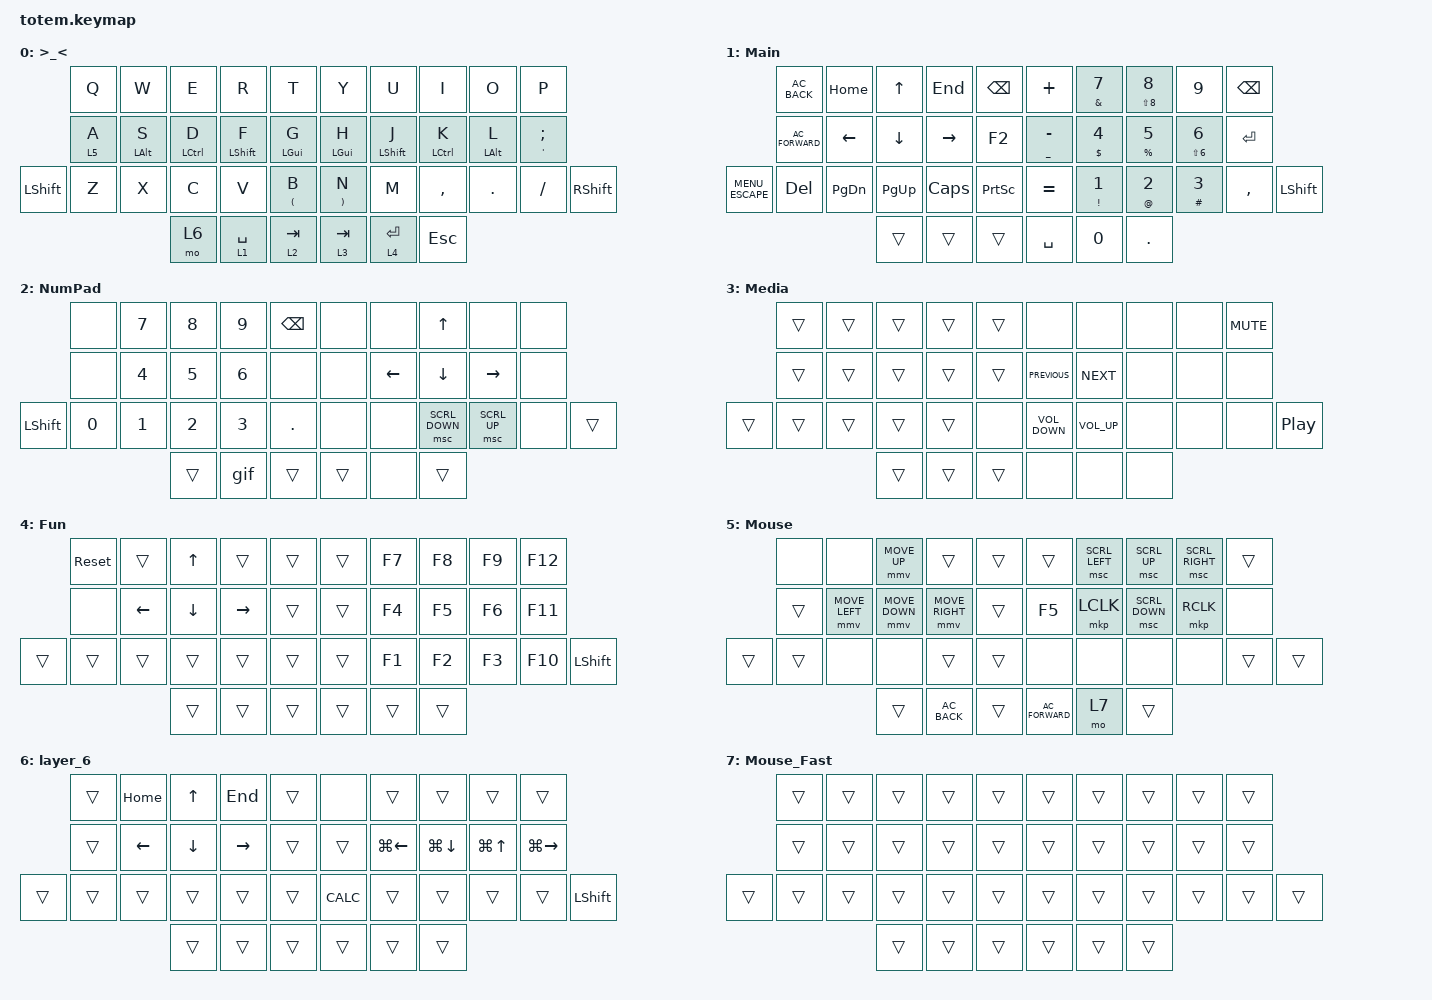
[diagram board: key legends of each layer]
//
//                                                        ▀▀▀▀▀     ▀▀▀▀▀          ▀▀█▀▀
//                                                        ▄▀▀▀▄  ▄  ▄▀▀▀▄  ▄  ▄▀▀▀▄  █  ▄▀▀▀▄
//                                                        █   █  █  █   █  █  █   █  █  █   █
//                                                         ▀▀▀   █   ▀▀▀   █   ▀▀▀   ▀   ▀▀▀
//                                                               █      ▄▄▄█▄▄▄    █   █  
//                                                               ▀      █  █  █     █▄█
//                                                             ▀▀▀▀▀    █  █  █      ▀
//                                                                      ▀  ▀  ▀
//
// ▄▄▄▄▄▄▄▄▄▄▄▄▄▄▄▄▄▄▄▄▄▄▄▄▄▄▄▄▄▄▄▄▄▄▄▄▄▄▄▄▄▄▄▄▄▄▄▄▄▄▄▄▄▄▄▄▄▄▄▄▄▄▄▄▄▄▄▄▄▄▄▄▄▄▄▄▄▄▄▄▄▄▄▄▄▄▄▄▄▄▄▄▄▄▄▄▄▄▄▄▄▄▄▄▄▄▄▄▄▄▄▄▄▄▄▄▄▄▄▄▄▄▄▄▄▄▄▄▄▄▄▄▄▄▄▄▄▄▄▄▄▄▄▄▄▄▄▄▄

#include <behaviors.dtsi>
#include <dt-bindings/zmk/keys.h>
#include <zephyr/dt-bindings/input/input-event-codes.h>

#define ZMK_POINTING_DEFAULT_MOVE_VAL 600  
#define ZMK_POINTING_DEFAULT_SCRL_VAL 20    

#include <dt-bindings/zmk/pointing.h>

&mmv {
    time-to-max-speed-ms = <0>;       
    acceleration-exponent = <0>;        
};

/ {
    custom_zip_xy_scaler: custom_zip_xy_scaler {
        compatible = "zmk,input-processor-scaler";
        #input-processor-cells = <2>;
        type = <INPUT_EV_REL>;
        codes = <INPUT_REL_X>, <INPUT_REL_Y>;
        track-remainders;
    };
};

&mmv_input_listener {
    mouse_fast {
        layers = <7>;   
        input-processors = <&custom_zip_xy_scaler 11 6>; 
        process-next;
    };
};

#define BASE 0
#define NAV  1
#define SYM  2
#define ADJ  3
#define TVP1 4
#define TVP2 5

&mt {
    quick-tap-ms = <100>;
    global-quick-tap;
    flavor = "tap-preferred";
    tapping-term-ms = <180>;
};

/ {
    combos {
        compatible = "zmk,combos";

        hangle {
            bindings = <&kp LANG_HANGEUL>;
            key-positions = <12 11>;
        };

        BS {
            bindings = <&kp BACKSPACE>;
            key-positions = <17 18>;
        };

        question {
            bindings = <&kp QUESTION>;
            key-positions = <28 29>;
        };

        c+z {
            bindings = <&kp LC(Z)>;
            key-positions = <33 21>;
        };

        c+x {
            bindings = <&kp LC(X)>;
            key-positions = <33 22>;
        };

        c+c {
            bindings = <&kp LC(C)>;
            key-positions = <23 33>;
        };

        c+v {
            bindings = <&kp LC(V)>;
            key-positions = <24 33>;
        };

        wave {
            bindings = <&kp TILDE>;
            key-positions = <0 1>;
        };

        layer5 {
            bindings = <&mo 5>;
            key-positions = <11 12 33>;
        };

        layerBackspace {
            bindings = <&kp BACKSPACE>;
            key-positions = <33 17 18>;
        };

        Del {
            bindings = <&kp DELETE>;
            key-positions = <33 20>;
        };

        CapsLock {
            bindings = <&kp CAPSLOCK>;
            key-positions = <33 13>;
        };
    };

    macros {
        gif: gif {
            label = "giphy";
            compatible = "zmk,behavior-macro";
            #binding-cells = <0>;
            bindings =
                <&macro_press>,
                <&kp LSHFT>,
                <&macro_tap>,
                <&kp N2>,
                <&macro_release>,
                <&kp LSHFT>,
                <&macro_tap>,
                <&kp G &kp I &kp F>;
        };
    };

    behaviors {
        hm: homerow-mods {
            compatible = "zmk,behavior-hold-tap";
            label = "HOMEROW_MODS";
            bindings = <&kp>, <&kp>;

            #binding-cells = <2>;
            tapping-term-ms = <190>;
            quick-tap-ms = <100>;
            flavor = "tap-preferred";
        };

        retroT: retroT {
            compatible = "zmk,behavior-hold-tap";
            label = "RETROT";
            bindings = <&lt>, <&kp>;

            #binding-cells = <2>;
            tapping-term-ms = <180>;
            quick-tap-ms = <100>;
            flavor = "hold-preferred";
            retro-tap;
        };
    };

    keymap {
        compatible = "zmk,keymap";

        // ▄▄▄▄▄▄▄▄▄▄▄▄▄▄▄▄▄▄▄▄▄▄▄▄▄▄▄▄▄▄▄▄▄▄▄▄▄▄▄▄▄▄▄▄▄▄▄▄▄▄▄▄▄▄▄▄▄▄▄▄▄▄▄▄▄▄▄▄▄▄▄▄▄▄▄▄▄▄▄▄▄▄▄▄▄▄▄▄▄▄▄▄▄▄▄▄▄▄▄▄▄▄▄▄▄▄▄▄▄▄▄▄▄▄▄▄▄▄▄▄▄▄▄▄▄▄▄▄▄▄▄▄▄▄▄▄▄▄▄▄▄▄▄▄▄▄▄▄▄

        base_layer {
            // ┏━━━━━━━━━━━━━━━━━━━━━━━━━━━━━━━━━━━━━━━┓

            label = ">_<";

            // ┗━━━━━━━━━━━━━━━━━━━━━━━━━━━━━━━━━━━━━━━┛
            //             ┏━━━━━━━━━━━┳━━━━━━━━━━━┳━━━━━━━━━━━┳━━━━━━━━━━━┳━━━━━━━━━━━┓   ┏━━━━━━━━━━━┳━━━━━━━━━━━┳━━━━━━━━━━━┳━━━━━━━━━━━┳━━━━━━━━━━━┓
            //             ┃     Q     ┃     W     ┃     F     ┃     P     ┃     G     ┃   ┃     J     ┃     L     ┃     U     ┃     Y     ┃     ;     ┃
            //             ┣━━━━━━━━━━━╋━━━━━━━━━━━╋━━━━━━━━━━━╋━━━━━━━━━━━╋━━━━━━━━━━━┫   ┣━━━━━━━━━━━╋━━━━━━━━━━━╋━━━━━━━━━━━╋━━━━━━━━━━━╋━━━━━━━━━━━┫
            //             ┃     A     ┃     R     ┃     S     ┃     T     ┃     D     ┃   ┃     H     ┃     N     ┃     E     ┃     I     ┃     O     ┃
            // ┏━━━━━━━━━━━╋━━━━━━━━━━━╋━━━━━━━━━━━╋━━━━━━━━━━━╋━━━━━━━━━━━╋━━━━━━━━━━━┫   ┣━━━━━━━━━━━╋━━━━━━━━━━━╋━━━━━━━━━━━╋━━━━━━━━━━━╋━━━━━━━━━━━╋━━━━━━━━━━━┓
            // ┃     Q     ┃     Z     ┃     X     ┃     C     ┃     V     ┃     B     ┃   ┃     K     ┃     M     ┃     ,     ┃     .     ┃     /     ┃     \     ┃
            // ┗━━━━━━━━━━━┻━━━━━━━━━━━┻━━━━━━━━━━━╋━━━━━━━━━━━╋━━━━━━━━━━━╋━━━━━━━━━━━┫   ┣━━━━━━━━━━━╋━━━━━━━━━━━╋━━━━━━━━━━━╋━━━━━━━━━━━┻━━━━━━━━━━━┻━━━━━━━━━━━┛
            //                                     ┃    DEL    ┃    TAB    ┃    SPC    ┃   ┃   ENTER   ┃           ┃   BSPC    ┃
            //                                     ┗━━━━━━━━━━━┻━━━━━━━━━━━┻━━━━━━━━━━━┛   ┗━━━━━━━━━━━┻━━━━━━━━━━━┻━━━━━━━━━━━┛

            bindings = <
                &kp Q    &kp W           &kp E               &kp R             &kp T                     &kp Y                    &kp U             &kp I               &kp O           &kp P
                &lt 5 A  &hm LEFT_ALT S  &mt LEFT_CONTROL D  &hm LEFT_SHIFT F  &hm LEFT_GUI G            &hm LEFT_GUI H           &hm LEFT_SHIFT J  &hm LEFT_CONTROL K  &hm LEFT_ALT L  &mt SQT SEMICOLON
&kp LEFT_SHIFT  &kp Z    &kp X           &kp C               &kp V             &mt LEFT_PARENTHESIS B    &mt RIGHT_PARENTHESIS N  &kp M             &kp COMMA           &kp DOT         &kp FSLH           &kp RIGHT_SHIFT
                                         &mo 6               &lt 1 SPACE       &lt 2 TAB                 &lt 3 TAB                &lt 4 ENTER       &kp ESC
            >;
        };

        Main_layer {
            // ┏━━━━━━━━━━━━━━━━━━━━━━━━━━━━━━━━━━━━━━━┓

            label = "Main";

            // ┗━━━━━━━━━━━━━━━━━━━━━━━━━━━━━━━━━━━━━━━┛
            //             ┏━━━━━━━━━━━┳━━━━━━━━━━━┳━━━━━━━━━━━┳━━━━━━━━━━━┳━━━━━━━━━━━┓   ┏━━━━━━━━━━━┳━━━━━━━━━━━┳━━━━━━━━━━━┳━━━━━━━━━━━┳━━━━━━━━━━━┓
            //             ┃           ┃           ┃     UP    ┃           ┃     {     ┃   ┃     }     ┃     7     ┃     8     ┃     9     ┃     +     ┃
            //             ┣━━━━━━━━━━━╋━━━━━━━━━━━╋━━━━━━━━━━━╋━━━━━━━━━━━╋━━━━━━━━━━━┫   ┣━━━━━━━━━━━╋━━━━━━━━━━━╋━━━━━━━━━━━╋━━━━━━━━━━━╋━━━━━━━━━━━┫
            //             ┃   SHIFT   ┃   LEFT    ┃    DOWN   ┃   RIGHT   ┃     [     ┃   ┃     ]     ┃     4     ┃     5     ┃     6     ┃     -     ┃
            // ┏━━━━━━━━━━━╋━━━━━━━━━━━╋━━━━━━━━━━━╋━━━━━━━━━━━╋━━━━━━━━━━━╋━━━━━━━━━━━┫   ┣━━━━━━━━━━━╋━━━━━━━━━━━╋━━━━━━━━━━━╋━━━━━━━━━━━╋━━━━━━━━━━━╋━━━━━━━━━━━┓
            // ┃           ┃           ┃   P UP    ┃  C LOCK   ┃  P DOWN   ┃     (     ┃   ┃     )     ┃     1     ┃     2     ┃     3     ┃     *     ┃           ┃
            // ┗━━━━━━━━━━━┻━━━━━━━━━━━┻━━━━━━━━━━━╋━━━━━━━━━━━╋━━━━━━━━━━━╋━━━━━━━━━━━┫   ┣━━━━━━━━━━━╋━━━━━━━━━━━╋━━━━━━━━━━━╋━━━━━━━━━━━┻━━━━━━━━━━━┻━━━━━━━━━━━┛
            //                                     ┃           ┃    TAB    ┃    SPC    ┃   ┃    DEL    ┃     0     ┃           ┃
            //                                     ┗━━━━━━━━━━━┻━━━━━━━━━━━┻━━━━━━━━━━━┛   ┗━━━━━━━━━━━┻━━━━━━━━━━━┻━━━━━━━━━━━┛

            bindings = <
                   &kp C_AC_BACK     &kp HOME       &kp UP       &kp END    &kp BACKSPACE      &kp PLUS         &mt AMPERSAND N7          &mt LS(N8) N8         &kp N9                     &kp BACKSPACE
                   &kp C_AC_FORWARD  &kp LEFT       &kp DOWN     &kp RIGHT  &kp F2             &mt UNDER MINUS  &mt DOLLAR NUMBER_4       &mt PERCENT N5        &mt LS(NUMBER_6) NUMBER_6  &kp ENTER
&kp C_MENU_ESCAPE  &kp DEL           &kp PAGE_DOWN  &kp PAGE_UP  &kp CAPS   &kp PRINTSCREEN    &kp EQUAL        &mt EXCLAMATION NUMBER_1  &mt AT_SIGN NUMBER_2  &mt HASH NUMBER_3          &kp COMMA      &kp LEFT_SHIFT
                                                    &trans       &trans     &trans             &kp SPACE        &kp N0                    &kp DOT
            >;
        };

        NumPad_layer {
            // ┏━━━━━━━━━━━━━━━━━━━━━━━━━━━━━━━━━━━━━━━┓

            label = "NumPad";

            // ┗━━━━━━━━━━━━━━━━━━━━━━━━━━━━━━━━━━━━━━━┛
            //             ┏━━━━━━━━━━━┳━━━━━━━━━━━┳━━━━━━━━━━━┳━━━━━━━━━━━┳━━━━━━━━━━━┓   ┏━━━━━━━━━━━┳━━━━━━━━━━━┳━━━━━━━━━━━┳━━━━━━━━━━━┳━━━━━━━━━━━┓
            //             ┃     !     ┃     @     ┃     #     ┃     $     ┃     %     ┃   ┃     ˆ     ┃     &     ┃     Ü     ┃     '     ┃     "     ┃
            //             ┣━━━━━━━━━━━╋━━━━━━━━━━━╋━━━━━━━━━━━╋━━━━━━━━━━━╋━━━━━━━━━━━┫   ┣━━━━━━━━━━━╋━━━━━━━━━━━╋━━━━━━━━━━━╋━━━━━━━━━━━╋━━━━━━━━━━━┫
            //             ┃     Ä     ┃           ┃    SZ     ┃           ┃           ┃   ┃   MUTE    ┃   YEN     ┃   EURO    ┃  POUND    ┃     Ö     ┃
            // ┏━━━━━━━━━━━╋━━━━━━━━━━━╋━━━━━━━━━━━╋━━━━━━━━━━━╋━━━━━━━━━━━╋━━━━━━━━━━━┫   ┣━━━━━━━━━━━╋━━━━━━━━━━━╋━━━━━━━━━━━╋━━━━━━━━━━━╋━━━━━━━━━━━╋━━━━━━━━━━━┓
            // ┃           ┃  EMAIL1   ┃  EMAIL2   ┃           ┃           ┃           ┃   ┃   VOL-    ┃   VOL+    ┃   LAST    ┃   NEXT    ┃     \     ┃           ┃
            // ┗━━━━━━━━━━━┻━━━━━━━━━━━┻━━━━━━━━━━━╋━━━━━━━━━━━╋━━━━━━━━━━━╋━━━━━━━━━━━┫   ┣━━━━━━━━━━━╋━━━━━━━━━━━╋━━━━━━━━━━━╋━━━━━━━━━━━┻━━━━━━━━━━━┻━━━━━━━━━━━┛
            //                                     ┃           ┃    GIF    ┃    ADJ    ┃   ┃           ┃           ┃           ┃
            //                                     ┗━━━━━━━━━━━┻━━━━━━━━━━━┻━━━━━━━━━━━┛   ┗━━━━━━━━━━━┻━━━━━━━━━━━┻━━━━━━━━━━━┛

            bindings = <
                &none   &kp N7        &kp N8        &kp N9        &kp BACKSPACE    &none   &none     &kp UP          &none         &none
                &none   &kp NUMBER_4  &kp N5        &kp NUMBER_6  &none            &none   &kp LEFT  &kp DOWN        &kp RIGHT     &none
&kp LEFT_SHIFT  &kp N0  &kp NUMBER_1  &kp NUMBER_2  &kp NUMBER_3  &kp DOT          &none   &none     &msc SCRL_DOWN  &msc SCRL_UP  &none  &trans
                                      &trans        &gif          &trans           &trans  &none     &trans
            >;
        };

        Media_layer {
            // ┏━━━━━━━━━━━━━━━━━━━━━━━━━━━━━━━━━━━━━━━┓

            label = "Media";

            // ┗━━━━━━━━━━━━━━━━━━━━━━━━━━━━━━━━━━━━━━━┛
            //             ┏━━━━━━━━━━━┳━━━━━━━━━━━┳━━━━━━━━━━━┳━━━━━━━━━━━┳━━━━━━━━━━━┓   ┏━━━━━━━━━━━┳━━━━━━━━━━━┳━━━━━━━━━━━┳━━━━━━━━━━━┳━━━━━━━━━━━┓
            //             ┃ NEXT FILE ┃ MARK IN   ┃ ROTATE    ┃ MARK OUT  ┃ SHOW SNAP ┃   ┃           ┃           ┃           ┃           ┃           ┃
            //             ┣━━━━━━━━━━━╋━━━━━━━━━━━╋━━━━━━━━━━━╋━━━━━━━━━━━╋━━━━━━━━━━━┫   ┣━━━━━━━━━━━╋━━━━━━━━━━━╋━━━━━━━━━━━╋━━━━━━━━━━━╋━━━━━━━━━━━┫
            //             ┃ TVP II    ┃ LEFT      ┃ PAN       ┃ RIGHT     ┃ PLAY/FLIP ┃   ┃           ┃           ┃           ┃           ┃           ┃
            // ┏━━━━━━━━━━━╋━━━━━━━━━━━╋━━━━━━━━━━━╋━━━━━━━━━━━╋━━━━━━━━━━━╋━━━━━━━━━━━┫   ┣━━━━━━━━━━━╋━━━━━━━━━━━╋━━━━━━━━━━━╋━━━━━━━━━━━╋━━━━━━━━━━━╋━━━━━━━━━━━┓
            // ┃ FULLSCR   ┃ SHIFT     ┃ COPY      ┃ DELETE    ┃ PASTE     ┃ IMG MARK  ┃   ┃           ┃           ┃           ┃           ┃           ┃           ┃
            // ┗━━━━━━━━━━━┻━━━━━━━━━━━┻━━━━━━━━━━━╋━━━━━━━━━━━╋━━━━━━━━━━━╋━━━━━━━━━━━┫   ┣━━━━━━━━━━━╋━━━━━━━━━━━╋━━━━━━━━━━━╋━━━━━━━━━━━┻━━━━━━━━━━━┻━━━━━━━━━━━┛
            //                                     ┃           ┃ UNDO/SAVE ┃  SEL/MOV  ┃   ┃           ┃           ┃           ┃
            //                                     ┗━━━━━━━━━━━┻━━━━━━━━━━━┻━━━━━━━━━━━┛   ┗━━━━━━━━━━━┻━━━━━━━━━━━┻━━━━━━━━━━━┛

            bindings = <
        &trans  &trans  &trans  &trans  &trans    &none              &none            &none  &none  &kp C_MUTE
        &trans  &trans  &trans  &trans  &trans    &kp C_PREVIOUS     &kp C_NEXT       &none  &none  &none
&trans  &trans  &trans  &trans  &trans  &none     &kp C_VOLUME_DOWN  &kp C_VOLUME_UP  &none  &none  &none       &kp C_PLAY_PAUSE
                        &trans  &trans  &trans    &none              &none            &none
            >;
        };

        Function_layer {
            // ┏━━━━━━━━━━━━━━━━━━━━━━━━━━━━━━━━━━━━━━━┓

            label = "Fun";

            // ┗━━━━━━━━━━━━━━━━━━━━━━━━━━━━━━━━━━━━━━━┛
            //             ┏━━━━━━━━━━━┳━━━━━━━━━━━┳━━━━━━━━━━━┳━━━━━━━━━━━┳━━━━━━━━━━━┓   ┏━━━━━━━━━━━┳━━━━━━━━━━━┳━━━━━━━━━━━┳━━━━━━━━━━━┳━━━━━━━━━━━┓
            //             ┃   RESET   ┃ BT CLEAR  ┃  OUT TOG  ┃           ┃           ┃   ┃           ┃    F7     ┃    F8     ┃    F9     ┃    F12    ┃
            //             ┣━━━━━━━━━━━╋━━━━━━━━━━━╋━━━━━━━━━━━╋━━━━━━━━━━━╋━━━━━━━━━━━┫   ┣━━━━━━━━━━━╋━━━━━━━━━━━╋━━━━━━━━━━━╋━━━━━━━━━━━╋━━━━━━━━━━━┫
            //             ┃ BOOTLOAD  ┃ BT NEXT   ┃           ┃           ┃           ┃   ┃           ┃    F4     ┃    F5     ┃    F6     ┃    F11    ┃
            // ┏━━━━━━━━━━━╋━━━━━━━━━━━╋━━━━━━━━━━━╋━━━━━━━━━━━╋━━━━━━━━━━━╋━━━━━━━━━━━┫   ┣━━━━━━━━━━━╋━━━━━━━━━━━╋━━━━━━━━━━━╋━━━━━━━━━━━╋━━━━━━━━━━━╋━━━━━━━━━━━┓
            // ┃           ┃           ┃ BT PREV   ┃           ┃           ┃           ┃   ┃           ┃    F1     ┃    F2     ┃    F3     ┃    F10    ┃           ┃
            // ┗━━━━━━━━━━━┻━━━━━━━━━━━┻━━━━━━━━━━━╋━━━━━━━━━━━╋━━━━━━━━━━━╋━━━━━━━━━━━┫   ┣━━━━━━━━━━━╋━━━━━━━━━━━╋━━━━━━━━━━━╋━━━━━━━━━━━┻━━━━━━━━━━━┻━━━━━━━━━━━┛
            //                                     ┃           ┃           ┃           ┃   ┃           ┃           ┃           ┃
            //                                     ┗━━━━━━━━━━━┻━━━━━━━━━━━┻━━━━━━━━━━━┛   ┗━━━━━━━━━━━┻━━━━━━━━━━━┻━━━━━━━━━━━┛

            bindings = <
        &sys_reset  &trans    &kp UP_ARROW  &trans     &trans    &trans  &kp F7  &kp F8  &kp F9  &kp F12
        &none       &kp LEFT  &kp DOWN      &kp RIGHT  &trans    &trans  &kp F4  &kp F5  &kp F6  &kp F11
&trans  &trans      &trans    &trans        &trans     &trans    &trans  &kp F1  &kp F2  &kp F3  &kp F10  &kp LEFT_SHIFT
                              &trans        &trans     &trans    &trans  &trans  &trans
            >;
        };

        Mouse {
            bindings = <
        &none   &none           &mmv MOVE_UP    &trans           &trans    &trans  &msc SCRL_LEFT    &msc SCRL_UP    &msc SCRL_RIGHT  &trans
        &trans  &mmv MOVE_LEFT  &mmv MOVE_DOWN  &mmv MOVE_RIGHT  &trans    &kp F5   &mkp LCLK         &msc SCRL_DOWN  &mkp RCLK        &none
&trans  &trans  &none           &none           &trans           &trans    &none   &none             &none           &none            &trans  &trans
                                &trans          &kp C_AC_BACK    &trans    &kp C_AC_FORWARD  &mo 7  &trans
            >;
        };

        layer_6 {
            bindings = <
        &trans  &kp HOME        &kp UP_ARROW  &kp END    &trans    &none       &trans        &trans        &trans            &trans
        &trans  &kp LEFT_ARROW  &kp DOWN      &kp RIGHT  &trans    &trans      &kp LG(LEFT)  &kp LG(DOWN)  &kp LG(UP_ARROW)  &kp LG(RIGHT)
&trans  &trans  &trans          &trans        &trans     &trans    &kp K_CALC  &trans        &trans        &trans            &trans         &kp LEFT_SHIFT
                                &trans        &trans     &trans    &trans      &trans        &trans
            >;
        };
        Mouse_Fast {
            bindings = <
        &trans  &trans  &trans  &trans  &trans    &trans  &trans  &trans  &trans  &trans
        &trans  &trans  &trans  &trans  &trans    &trans  &trans  &trans  &trans  &trans
&trans  &trans  &trans  &trans  &trans  &trans    &trans  &trans  &trans  &trans  &trans  &trans
                        &trans  &trans  &trans    &trans  &trans  &trans 
            >;
        };

        // ▄▄▄▄▄▄▄▄▄▄▄▄▄▄▄▄▄▄▄▄▄▄▄▄▄▄▄▄▄▄▄▄▄▄▄▄▄▄▄▄▄▄▄▄▄▄▄▄▄▄▄▄▄▄▄▄▄▄▄▄▄▄▄▄▄▄▄▄▄▄▄▄▄▄▄▄▄▄▄▄▄▄▄▄▄▄▄▄▄▄▄▄▄▄▄▄▄▄▄▄▄▄▄▄▄▄▄▄▄▄▄▄▄▄▄▄▄▄▄▄▄▄▄▄▄▄▄▄▄▄▄▄▄▄▄▄▄▄▄▄▄▄▄▄▄▄▄▄▄
    };
};
